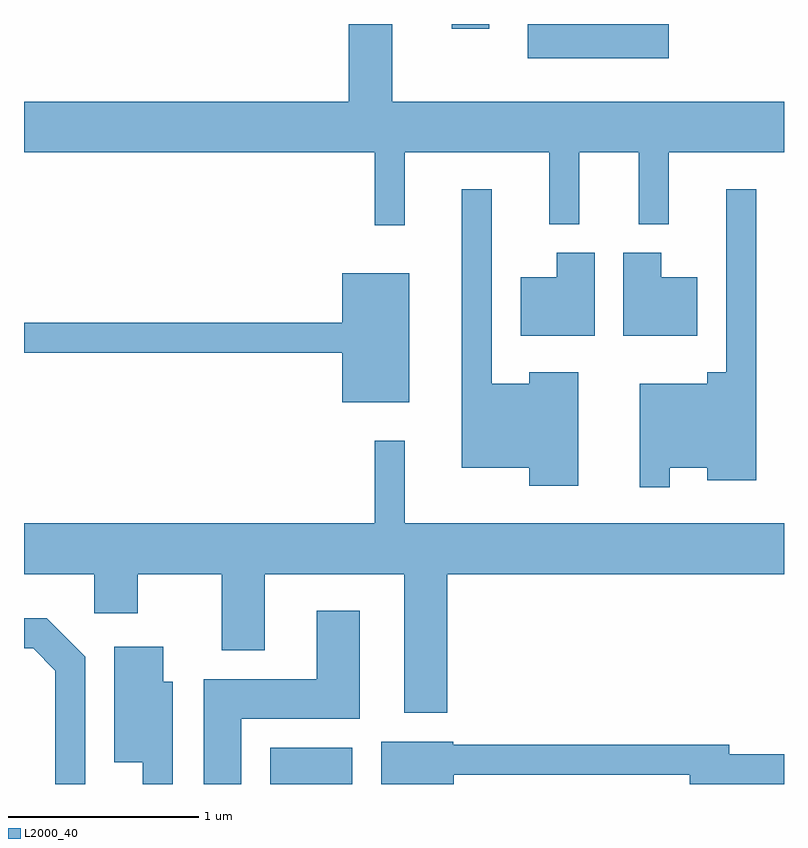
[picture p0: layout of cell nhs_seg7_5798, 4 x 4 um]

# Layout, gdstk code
import gdstk
lib = gdstk.Library(unit=1e-6, precision=1e-09)
def R(c, l, rs):  # rectangles x0, y0, x1, y1
    for r in rs: c.add(gdstk.rectangle(r[:2], r[2:], *l))
def P(c, l, *ps):  # polygons
    for p in ps: c.add(gdstk.Polygon(p, *l))
L2000_40 = (2000, 40)

nhs_seg7_5798 = lib.new_cell('nhs_seg7_5798')
R(nhs_seg7_5798, L2000_40, [(362.906,1784.252,363.339,1784.444), (364.261,1788.071,365.004,1788.252), (363.861,1788.226,364.059,1788.252)])
P(nhs_seg7_5798, L2000_40, [(363.614,1787.576),(364.376,1787.576),(364.376,1787.198),(364.534,1787.198),(364.534,1787.576),(364.846,1787.576),(364.846,1787.198),(365.004,1787.198),(365.004,1787.576),(365.611,1787.576),(365.611,1787.844),(363.549,1787.844),(363.549,1788.252),(363.321,1788.252),(363.321,1787.844),(361.611,1787.844),(361.611,1787.576),(363.456,1787.576),(363.456,1787.193),(363.614,1787.193)],
  [(364.529,1786.419),(364.271,1786.419),(364.271,1786.359),(364.074,1786.359),(364.074,1787.383),(363.916,1787.383),(363.916,1785.916),(364.271,1785.916),(364.271,1785.821),(364.529,1785.821)],
  [(365.009,1785.916),(365.206,1785.916),(365.206,1785.851),(365.464,1785.851),(365.464,1787.383),(365.306,1787.383),(365.306,1786.419),(365.206,1786.419),(365.206,1786.359),(364.851,1786.359),(364.851,1785.813),(365.009,1785.813)],
  [(364.614,1787.049),(364.416,1787.049),(364.416,1786.919),(364.226,1786.919),(364.226,1786.611),(364.614,1786.611)],
  [(365.154,1786.919),(364.964,1786.919),(364.964,1787.049),(364.766,1787.049),(364.766,1786.611),(365.154,1786.611)],
  [(363.639,1786.939),(363.286,1786.939),(363.286,1786.679),(361.611,1786.679),(361.611,1786.521),(363.286,1786.521),(363.286,1786.261),(363.639,1786.261)],
  [(363.839,1785.356),(365.611,1785.356),(365.611,1785.624),(363.614,1785.624),(363.614,1786.058),(363.456,1786.058),(363.456,1785.624),(361.611,1785.624),(361.611,1785.356),(361.981,1785.356),(361.981,1785.151),(362.209,1785.151),(362.209,1785.356),(362.651,1785.356),(362.651,1784.956),(362.879,1784.956),(362.879,1785.356),(363.611,1785.356),(363.611,1784.626),(363.839,1784.626)],
  [(362.754,1784.596),(363.379,1784.596),(363.379,1785.164),(363.151,1785.164),(363.151,1784.804),(362.556,1784.804),(362.556,1784.252),(362.754,1784.252)],
  [(361.934,1784.922),(361.732,1785.124),(361.611,1785.124),(361.611,1784.966),(361.659,1784.966),(361.776,1784.849),(361.776,1784.252),(361.934,1784.252)],
  [(362.394,1784.789),(362.344,1784.789),(362.344,1784.974),(362.086,1784.974),(362.086,1784.366),(362.236,1784.366),(362.236,1784.252),(362.394,1784.252)],
  [(363.874,1784.301),(365.116,1784.301),(365.116,1784.252),(365.611,1784.252),(365.611,1784.409),(365.324,1784.409),(365.324,1784.459),(363.87,1784.459),(363.87,1784.474),(363.491,1784.474),(363.491,1784.252),(363.874,1784.252)])

lib.write_gds('nhs_seg7_5798.gds')
